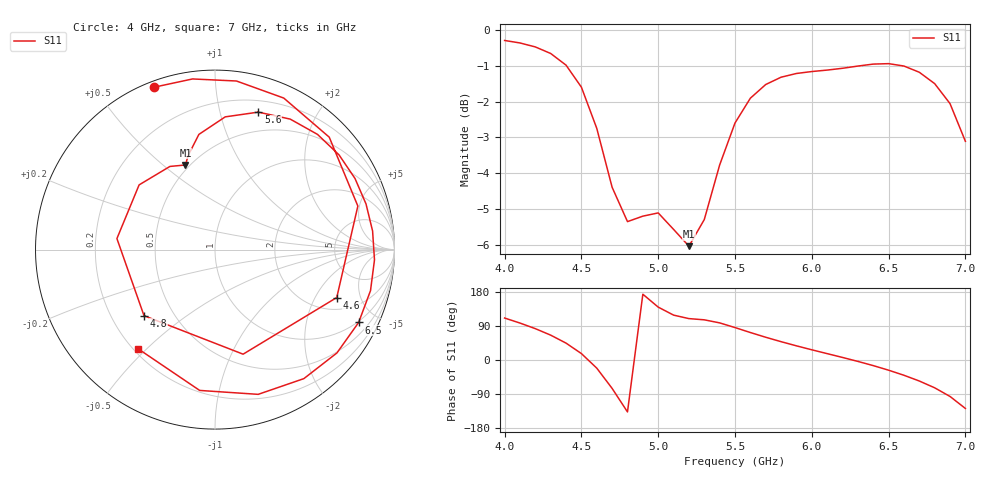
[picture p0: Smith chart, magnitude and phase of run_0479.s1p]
! Touchstone file exported from HFSS 2024.2.0
!  File:  C:/Users/wsak9/Desktop/Sim Fast/Widenad Patch/WP_AI_V1_sweep.aedt
!  Generated:  11:59:58 AM Oct 14, 2026
!  Design:  A1_model
!  Project:  WP_AI_V1_sweep
!  Setup:  Setup1
!  Solution:  Sweep
! Variables:
!  Air_gap = 3.28mm
!  Curve_Amp1 = 2.71
!  Curve_len1 = 1
!  Curve_pos = 10.78mm
!  Extra = 7.2mm
!  H_sub = 0.79mm
!  L_Patch = 17.56mm
!  L_Patch1 = 15.44mm
!  Sx = 4.79mm
!  Sy = 3.29mm
!  WS = 0.29mm
!  W_Patch = 19.51mm
!  W_Patch1 = 8.24mm
!Data is not renormalized
# GHz S MA
! Terminal data exported
! Port[1] = 1
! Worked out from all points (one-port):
!   31 points, 4 GHz to 7 GHz, reference per port
!   lowest |S11| = -6.0 dB at 5.2 GHz (marker M1), VSWR 2.99
!   |S11| at or under -10 dB: nowhere
!   S11 on the Smith chart (normalised r, x): 4 GHz: 0.02, +0.69; 4.6 GHz: 2.68, -3.06; 4.8 GHz: 0.34, -0.35; 5.6 GHz: 0.31, +1.32; 6.5 GHz: 0.95, -3.97; 7 GHz: 0.22, -0.47
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4  0.9667 110.7
4.1  0.959 97.5
4.2  0.9469 82.7
4.3  0.9271 65.6
4.4  0.893 44.5
4.5  0.832 16.9
4.6  0.729 -21.5
4.7  0.6033 -75.0
4.8  0.5403 -137.0
4.9  0.5499 173.6
5  0.5557 139.6
5.1  0.527 118.5
5.2  0.4994 109.2
5.3  0.5439 106.0
5.4  0.648 98.0
5.5  0.7417 85.6
5.6  0.8031 72.5
5.7  0.8392 60.0
5.9  0.8695 37.4
6.1  0.879 16.8
6.3  0.8904 -3.7
6.4  0.8961 -14.8
6.5  0.8974 -26.9
6.6  0.8905 -40.3
6.7  0.8729 -55.4
6.8  0.8416 -73.4
6.9  0.7893 -96.2
7  0.6993 -127.9
